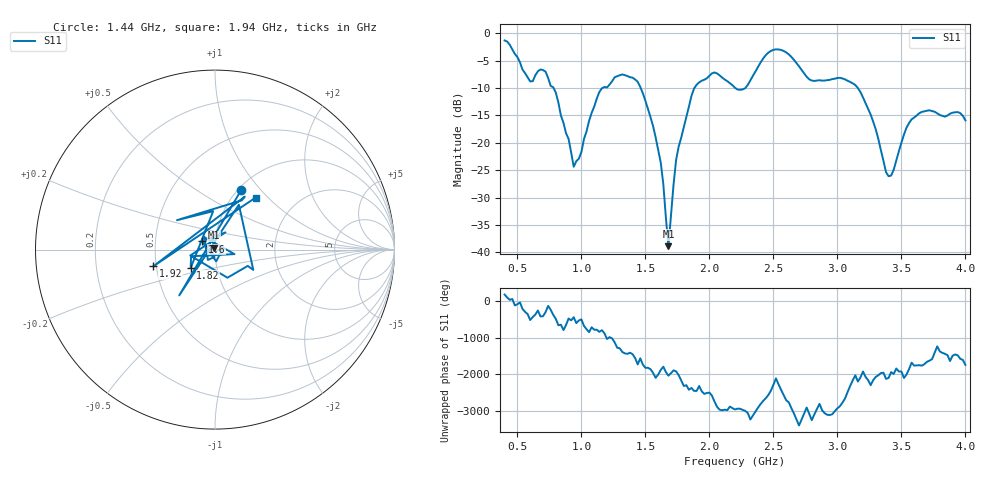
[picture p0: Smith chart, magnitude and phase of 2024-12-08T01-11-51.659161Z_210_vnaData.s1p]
!Created with skrf (http://scikit-rf.org).
# Hz S RI R 50.0
!freq ReS11 ImS11
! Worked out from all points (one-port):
!   181 points, 400 MHz to 4 GHz, reference 50 ohm
!   lowest |S11| = -38.9 dB at 1.68 GHz (marker M1), VSWR 1.02, Z = 49.4 + j0.991 ohm
!   |S11| at or under -10 dB: 782.7 MHz to 1.165 GHz (382.5 MHz wide, 39.3 % of centre); 1.463 GHz to 1.883 GHz (419.7 MHz wide, 25.1 % of centre); 3.16 GHz to end of sweep (the widest 3 of 4)
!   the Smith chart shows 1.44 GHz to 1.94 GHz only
!   S11 on the Smith chart (normalised r, x): 1.44 GHz: 1.04, +0.78; 1.6 GHz: 0.86, +0.08; 1.82 GHz: 0.75, -0.16; 1.92 GHz: 0.48, -0.10; 1.94 GHz: 1.27, +0.85
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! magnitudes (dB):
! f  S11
! 400 MHz  -1.3
! 600 MHz  -8.8
! 720 MHz  -7.0
! 860 MHz  -16.4
! 940 MHz  -24.4
! 1.14 GHz  -10.7
! 1.3 GHz  -7.7
! 1.44 GHz  -8.9
! 1.6 GHz  -21.4
! 1.64 GHz  -27.6
! 1.68 GHz  -38.9
! 1.72 GHz  -27.6
! 1.76 GHz  -20.7
! 1.82 GHz  -15.4
! 1.92 GHz  -9.0
! 1.94 GHz  -8.7
! 2.04 GHz  -7.2
! 2.2 GHz  -10.0
! 2.28 GHz  -10.0
! 2.48 GHz  -3.2
! 2.66 GHz  -4.9
! 2.8 GHz  -8.6
! 3.1 GHz  -8.9
! 3.26 GHz  -14.9
! 3.4 GHz  -26.1
! 3.56 GHz  -16.4
! 3.72 GHz  -14.1
! 4 GHz  -15.9
